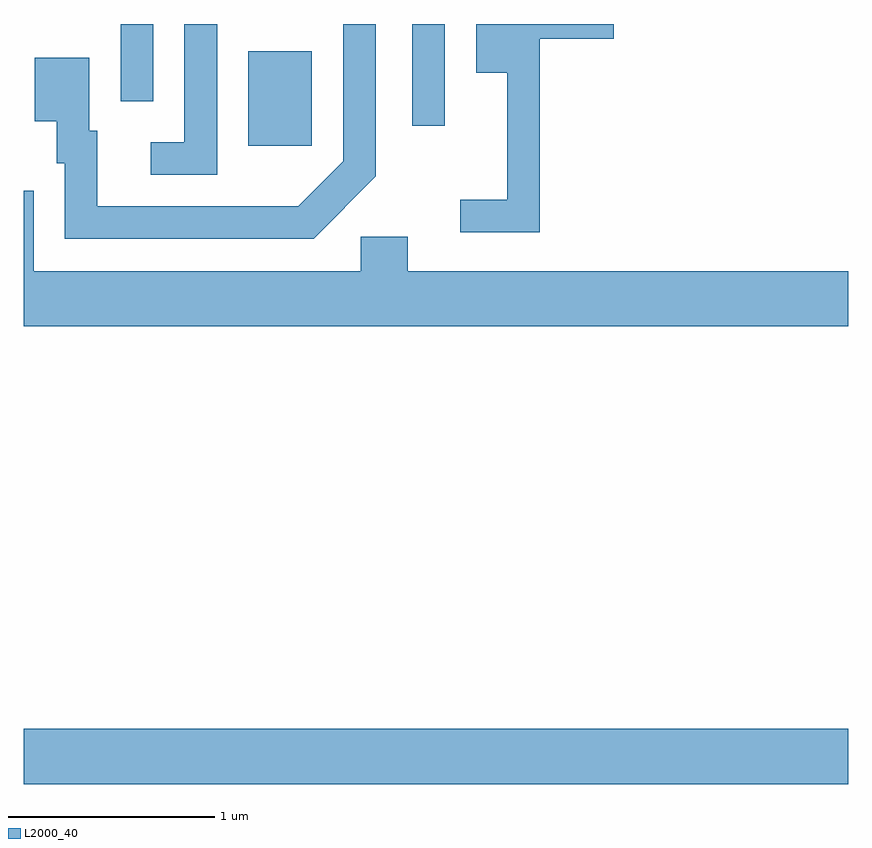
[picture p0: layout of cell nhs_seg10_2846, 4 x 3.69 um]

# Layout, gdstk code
import gdstk
lib = gdstk.Library(unit=1e-6, precision=1e-09)
def R(c, l, rs):  # rectangles x0, y0, x1, y1
    for r in rs: c.add(gdstk.rectangle(r[:2], r[2:], *l))
def P(c, l, *ps):  # polygons
    for p in ps: c.add(gdstk.Polygon(p, *l))
L2000_40 = (2000, 40)

nhs_seg10_2846 = lib.new_cell('nhs_seg10_2846')
R(nhs_seg10_2846, L2000_40, [(269.611,2082.836,273.611,2083.104), (270.701,2085.931,271.009,2086.389), (271.496,2086.028,271.654,2086.522), (270.081,2086.148,270.239,2086.522)])
P(nhs_seg10_2846, L2000_40, [(270.549,2086.522),(270.391,2086.522),(270.391,2085.949),(270.228,2085.949),(270.228,2085.791),(270.549,2085.791)],
  [(271.319,2085.784),(271.319,2086.522),(271.161,2086.522),(271.161,2085.856),(270.944,2085.639),(269.969,2085.639),(269.969,2086.004),(269.929,2086.004),(269.929,2086.359),(269.666,2086.359),(269.666,2086.051),(269.771,2086.051),(269.771,2085.846),(269.811,2085.846),(269.811,2085.481),(271.017,2085.481)],
  [(272.114,2086.451),(272.474,2086.451),(272.474,2086.522),(271.806,2086.522),(271.806,2086.286),(271.956,2086.286),(271.956,2085.669),(271.728,2085.669),(271.728,2085.511),(272.114,2085.511)],
  [(273.611,2085.324),(271.474,2085.324),(271.474,2085.489),(271.246,2085.489),(271.246,2085.324),(269.659,2085.324),(269.659,2085.714),(269.611,2085.714),(269.611,2085.056),(273.611,2085.056)])

lib.write_gds('nhs_seg10_2846.gds')
